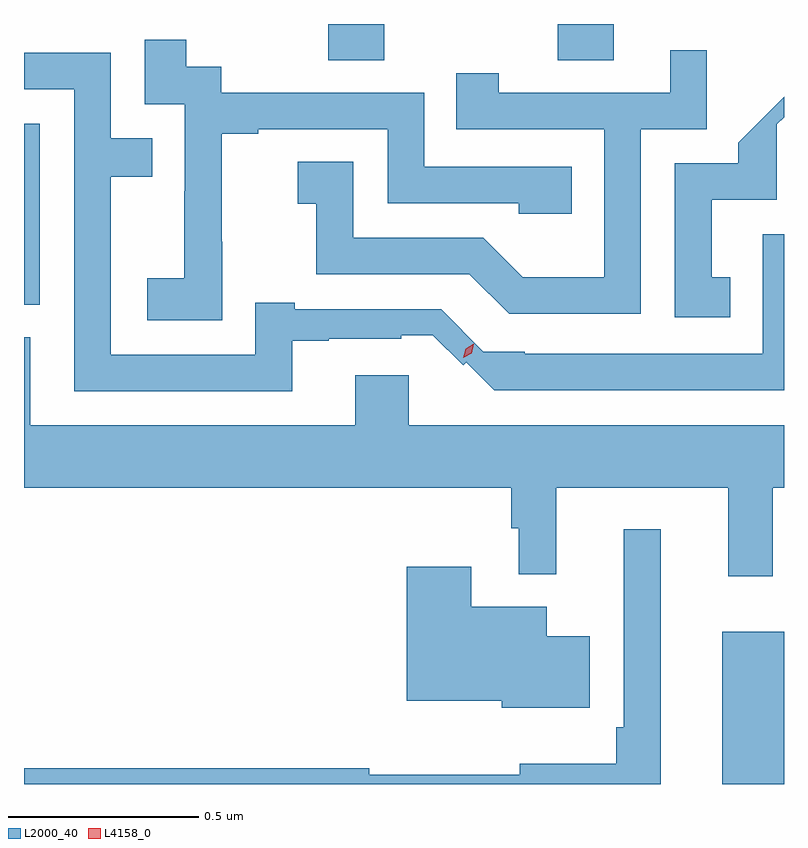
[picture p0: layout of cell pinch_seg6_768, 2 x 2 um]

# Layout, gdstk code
import gdstk
lib = gdstk.Library(unit=1e-6, precision=1e-09)
def R(c, l, rs):  # rectangles x0, y0, x1, y1
    for r in rs: c.add(gdstk.rectangle(r[:2], r[2:], *l))
def P(c, l, *ps):  # polygons
    for p in ps: c.add(gdstk.Polygon(p, *l))
L2000_40 = (2000, 40)
L4158_0 = (4158, 0)

pinch_seg6_768 = lib.new_cell('pinch_seg6_768')
R(pinch_seg6_768, L2000_40, [(507.599,933.236,507.761,933.637), (505.761,934.497,505.803,934.974), (506.561,935.14,506.709,935.236), (507.166,935.14,507.313,935.236)])
P(pinch_seg6_768, L2000_40, [(506.283,934.663),(506.282,934.663),(506.282,934.947),(506.377,934.947),(506.377,934.959),(506.718,934.959),(506.718,934.764),(507.063,934.764),(507.063,934.737),(507.203,934.737),(507.203,934.86),(506.814,934.86),(506.814,935.055),(506.28,935.055),(506.28,935.124),(506.188,935.124),(506.188,935.194),(506.079,935.194),(506.079,935.025),(506.184,935.025),(506.184,934.796),(506.183,934.796),(506.183,934.567),(506.085,934.567),(506.085,934.457),(506.283,934.457)],
  [(507.384,934.959),(507.558,934.959),(507.558,935.167),(507.461,935.167),(507.461,935.055),(507.01,935.055),(507.01,935.107),(506.899,935.107),(506.899,934.959),(507.288,934.959),(507.288,934.57),(507.074,934.57),(506.97,934.674),(506.628,934.674),(506.628,934.873),(506.481,934.873),(506.481,934.763),(506.53,934.763),(506.53,934.578),(506.933,934.578),(507.038,934.473),(507.384,934.473)],
  [(506.467,934.403),(506.563,934.403),(506.563,934.408),(506.754,934.408),(506.754,934.417),(506.837,934.417),(506.917,934.338),(506.925,934.346),(506.999,934.272),(507.761,934.272),(507.761,934.683),(507.705,934.683),(507.705,934.368),(507.079,934.368),(507.079,934.374),(506.97,934.374),(506.859,934.485),(506.473,934.485),(506.473,934.502),(506.37,934.502),(506.37,934.365),(505.989,934.365),(505.989,934.834),(506.099,934.834),(506.099,934.935),(505.989,934.935),(505.989,935.16),(505.761,935.16),(505.761,935.064),(505.893,935.064),(505.893,934.269),(506.467,934.269)],
  [(507.62,934.569),(507.571,934.569),(507.571,934.773),(507.742,934.773),(507.742,934.972),(507.761,934.991),(507.761,935.044),(507.641,934.924),(507.641,934.869),(507.474,934.869),(507.474,934.464),(507.62,934.464)],
  [(507.731,934.016),(507.761,934.016),(507.761,934.18),(506.773,934.18),(506.773,934.312),(506.633,934.312),(506.633,934.18),(505.777,934.18),(505.777,934.412),(505.761,934.412),(505.761,934.016),(507.043,934.016),(507.043,933.909),(507.063,933.909),(507.063,933.788),(507.161,933.788),(507.161,934.016),(507.614,934.016),(507.614,933.783),(507.731,933.783)],
  [(507.436,933.907),(507.339,933.907),(507.339,933.385),(507.319,933.385),(507.319,933.289),(507.065,933.289),(507.065,933.26),(506.669,933.26),(506.669,933.278),(505.761,933.278),(505.761,933.236),(507.436,933.236)],
  [(507.25,933.625),(507.136,933.625),(507.136,933.703),(506.938,933.703),(506.938,933.808),(506.768,933.808),(506.768,933.455),(507.018,933.455),(507.018,933.437),(507.25,933.437)])
P(pinch_seg6_768, L4158_0, [(506.917,934.358),(506.917,934.358),(506.923,934.382),(506.945,934.394),(506.945,934.394),(506.945,934.394),(506.939,934.37),(506.917,934.358)])

lib.write_gds('pinch_seg6_768.gds')
